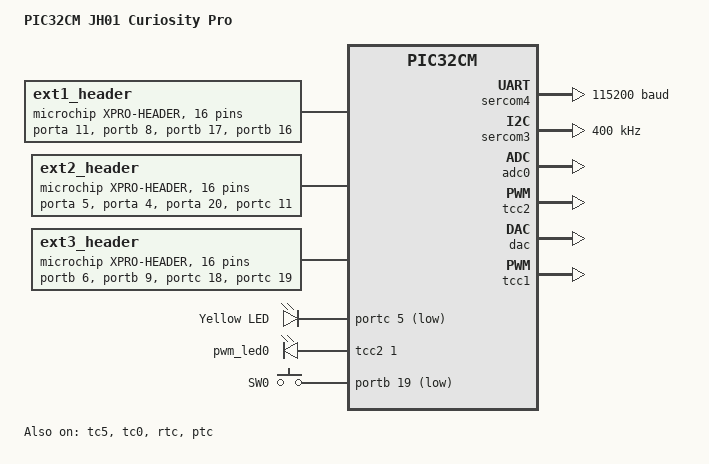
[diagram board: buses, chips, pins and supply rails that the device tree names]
/*
 * Copyright (c) 2025-2026 Microchip Technology Inc.
 *
 * SPDX-License-Identifier: Apache-2.0
 */

/dts-v1/;
#include <microchip/pic32c/pic32cm_jh/pic32cm_jh01/pic32cm5164jh01100.dtsi>
#include "pic32cm_jh01_cpro-pinctrl.dtsi"
#include <zephyr/dt-bindings/i2c/i2c.h>
#include <zephyr/dt-bindings/input/input-event-codes.h>
#include <zephyr/dt-bindings/adc/adc.h>
#include <zephyr/dt-bindings/adc/mchp_pic32cm_jh_adc.h>
#include <zephyr/dt-bindings/input/mchp_pic32cm_jh_ptc.h>

/ {
	model = "PIC32CM JH01 Curiosity Pro";
	compatible = "pic32cmjh01,cpro", "microchip,pic32cm5164jh01100", "microchip,pic32cm";

	chosen {
		zephyr,sram = &sram0;
		zephyr,flash = &flash0;
		zephyr,flash-controller = &nvmctrl;
		zephyr,console = &sercom4;
		zephyr,shell-uart = &sercom4;
		zephyr,code-partition = &slot0_partition;
	};

	aliases {
		led0 = &led0;
		sw0 = &button0;
		pwm-led0 = &pwm_led0;
		rtc = &rtc;
	};

	ext1_header: xplained-pro-connector1 {
		compatible = "microchip,xpro-header";
		#gpio-cells = <2>;
		gpio-map-mask = <0xffffffff 0xffffffc0>;
		gpio-map-pass-thru = <0 0x3f>;

		/* dts-format off */
					       /*                                                Shared */
		gpio-map = <0  0 &porta 11 0>, /* EXT1-3  [ADC(+)]        PA11  ADC0/AIN[11]            */
			   <1  0 &portb  8 0>, /* EXT1-4  [ADC(-)]        PB08  ADC0/AIN[2]             */
			   <2  0 &portb 17 0>, /* EXT1-5  [GPIO0]         PB17  GPIO                    */
			   <3  0 &portb 16 0>, /* EXT1-6  [GPIO1]         PB16  GPIO                    */
			   <4  0 &portb 12 0>, /* EXT1-7  [PWM(+)]        PB12  TCC0/WO[6]              */
			   <5  0 &portb 13 0>, /* EXT1-8  [PWM(-)]        PB13  TCC0/WO[7]              */
			   <6  0 &porta 21 0>, /* EXT1-9  [IRQ/GPIO]      PA21  EIC/EXTINT[5] / GPIO    */
			   <7  0 &portb  7 0>, /* EXT1-10 [SPI_SS_B/GPIO] PB07  GPIO                    */
			   <8  0 &porta 22 0>, /* EXT1-11 [TWI_SDA]       PA22  SERCOM3/PAD[0] I2C SDA  */
			   <9  0 &porta 23 0>, /* EXT1-12 [TWI_SCL]       PA23  SERCOM3/PAD[1] I2C SCL  */
			   <10 0 &porta 13 0>, /* EXT1-13 [USART_RX]      PA13  SERCOM2/PAD[1] UART RX  */
			   <11 0 &porta 12 0>, /* EXT1-14 [USART_TX]      PA12  SERCOM2/PAD[0] UART TX  */
			   <12 0 &portc 28 0>, /* EXT1-15 [SPI_SS_A]      PC28  SERCOM1/PAD[1] SPI SS   */
			   <13 0 &porta 18 0>, /* EXT1-16 [SPI_MOSI]      PA18  SERCOM1/PAD[2] SPI MOSI */
			   <14 0 &portc 27 0>, /* EXT1-17 [SPI_MISO]      PC27  SERCOM1/PAD[0] SPI MISO */
			   <15 0 &porta 19 0>; /* EXT1-18 [SPI_SCK]       PA19  SERCOM1/PAD[3] SPI SCK  */
					       /* GND                                                   */
					       /* +3.3V                                                 */
		/* dts-format on */
	};

	ext2_header: xplained-pro-connector2 {
		compatible = "microchip,xpro-header";
		#gpio-cells = <2>;
		gpio-map-mask = <0xffffffff 0xffffffc0>;
		gpio-map-pass-thru = <0 0x3f>;

		/* dts-format off */
					       /*                                                 Shared */
		gpio-map = <0  0 &porta  5 0>, /* EXT2-3  [ADC(+)]         PA05  ADC0/AIN[5]             */
			   <1  0 &porta  4 0>, /* EXT2-4  [ADC(-)]         PA04  ADC0/AIN[4]             */
			   <2  0 &porta 20 0>, /* EXT2-5  [GPIO0]          PA20  GPIO                    */
			   <3  0 &portc 11 0>, /* EXT2-6  [GPIO1]          PC11  GPIO                    */
			   <4  0 &portb 30 0>, /* EXT2-7  [PWM(+)]         PB30  TCC1/WO[2]              */
			   <5  0 &portb 31 0>, /* EXT2-8  [PWM(-)]         PB31  TCC1/WO[3]              */
			   <6  0 &portc 24 0>, /* EXT2-9  [IRQ/GPIO]       PC24  EIC/EXTINT[0] / GPIO    */
			   <7  0 &portc 25 0>, /* EXT2-10 [SPI_SS_B/GPIO]  PC25  GPIO                    */
			   <8  0 &porta 16 0>, /* EXT2-11 [TWI_SDA]        PA16  SERCOM1/PAD[0] I2C SDA  */
			   <9  0 &porta 17 0>, /* EXT2-12 [TWI_SCL]        PA17  SERCOM1/PAD[1] I2C SCL  */
			   <10 0 &portb 21 0>, /* EXT2-13 [USART_RX]       PB21  SERCOM3/PAD[1] UART RX  */
			   <11 0 &portb 20 0>, /* EXT2-14 [USART_TX]       PB20  SERCOM3/PAD[0] UART TX  */
			   <12 0 &portb  3 0>, /* EXT2-15 [SPI_SS_A]       PB03  SERCOM5/PAD[1] SPI SS   */
			   <13 0 &portb  0 0>, /* EXT2-16 [SPI_MOSI]       PB00  SERCOM5/PAD[2] SPI MOSI */
			   <14 0 &portb  2 0>, /* EXT2-17 [SPI_MISO]       PB02  SERCOM5/PAD[0] SPI MISO */
			   <15 0 &portb  1 0>; /* EXT2-18 [SPI_SCK]        PB01  SERCOM5/PAD[3] SPI SCK  */
					       /* GND                                                    */
					       /* +3.3V                                                  */
		/* dts-format on */
	};

	ext3_header: xplained-pro-connector3 {
		compatible = "microchip,xpro-header";
		#gpio-cells = <2>;
		gpio-map-mask = <0xffffffff 0xffffffc0>;
		gpio-map-pass-thru = <0 0x3f>;

		/* dts-format off */
					       /*                                                 Shared */
		gpio-map = <0  0 &portb  6 0>, /* EXT3-3  [ADC(+)]         PB06  ADC1/AIN[8]             */
			   <1  0 &portb  9 0>, /* EXT3-4  [ADC(-)]         PB09  ADC1/AIN[5]             */
			   <2  0 &portc 18 0>, /* EXT3-5  [GPIO0]          PC18  GPIO                    */
			   <3  0 &portc 19 0>, /* EXT3-6  [GPIO1]          PC19  GPIO                    */
			   <4  0 &portb 22 0>, /* EXT3-7  [PWM(+)]         PB22  TC3/WO[0]               */
			   <5  0 &portb 23 0>, /* EXT3-8  [PWM(-)]         PB23  TC3/WO[1]               */
			   <6  0 &porta 28 0>, /* EXT3-9  [IRQ/GPIO]       PA28  EIC/EXTINT[8] / GPIO    */
			   <7  0 &porta 27 0>, /* EXT3-10 [SPI_SS_B/GPIO]  PA27  GPIO                    */
			   <8  0 &porta 16 0>, /* EXT3-11 [TWI_SDA]        PA16  SERCOM1/PAD[0] I2C SDA  */
			   <9  0 &porta 17 0>, /* EXT3-12 [TWI_SCL]        PA17  SERCOM1/PAD[1] I2C SCL  */
			   <10 0 &portc 17 0>, /* EXT3-13 [USART_RX]       PC17  SERCOM6/PAD[1] UART RX  */
			   <11 0 &portc 16 0>, /* EXT3-14 [USART_TX]       PC16  SERCOM6/PAD[0] UART TX  */
			   <12 0 &portc 13 0>, /* EXT3-15 [SPI_SS_A]       PC13  SERCOM7/PAD[1] SPI SS   */
			   <13 0 &portc 14 0>, /* EXT3-16 [SPI_MOSI]       PC14  SERCOM7/PAD[2] SPI MOSI */
			   <14 0 &portc 12 0>, /* EXT3-17 [SPI_MISO]       PC12  SERCOM7/PAD[0] SPI MISO */
			   <15 0 &portc 15 0>; /* EXT3-18 [SPI_SCK]        PC15  SERCOM7/PAD[3] SPI SCK  */
					       /* GND                          */
					       /* +3.3V                        */
		/* dts-format on */
	};

	leds {
		compatible = "gpio-leds";

		led0: led_0 {
			gpios = <&portc 5 GPIO_ACTIVE_LOW>;
			label = "Yellow LED";
		};
	};

	pwmleds {
		compatible = "pwm-leds";

		pwm_led0: pwm_led_0 {
			pwms = <&tcc2 1 PWM_MSEC(20) 0>;
			status = "okay";
		};
	};

	buttons {
		compatible = "gpio-keys";

		button0: button_0 {
			gpios = <&portb 19 (GPIO_PULL_UP | GPIO_ACTIVE_LOW)>;
			label = "SW0";
			zephyr,code = <INPUT_KEY_0>;
		};
	};
};

&flash0 {
	partitions {
		#address-cells = <1>;
		#size-cells = <1>;
		ranges;

		/* Initial 64kB for boot partition*/
		boot_partition: partition@0 {
			compatible = "zephyr,mapped-partition";
			label = "mcuboot";
			reg = <0x00000000 DT_SIZE_K(64)>;
		};

		/* 224kB for slot0 partition */
		slot0_partition: partition@10000 {
			compatible = "zephyr,mapped-partition";
			label = "image-0";
			reg = <0x00010000 DT_SIZE_K(224)>;
		};

		/* 224kB for slot1 partition */
		slot1_partition: partition@48000 {
			compatible = "zephyr,mapped-partition";
			label = "image-1";
			reg = <0x00048000 DT_SIZE_K(224)>;
		};

		/* Entire 8kB of Data flash is for storage partition */
		storage_partition: partition@400000 {
			compatible = "zephyr,mapped-partition";
			label = "storage";
			reg = <0x00400000 DT_SIZE_K(8)>;
		};
	};
};

&cpu0 {
	clock-frequency = <48000000>;
};

&clock {
	compatible = "microchip,pic32cm-jh-clock";

	/* If cpu sourced from osc48m, use 3 for CPU frequency above 24Mhz */
	flash-wait-states = <2>;

	xosc: xosc {
		compatible = "microchip,pic32cm-jh-xosc";
		xosc-frequency = <32000000>;
		xosc-en = <1>;
		xosc-xtal-en = <1>;
		xosc-run-in-standby-en = <1>;
	};

	fdpll: fdpll {
		compatible = "microchip,pic32cm-jh-fdpll";
		fdpll-xosc-clock-divider = <15>;
		fdpll-divider-ratio-frac = <0>;
		fdpll-divider-ratio-int = <95>;
		fdpll-output-prescalar = "div2";
		fdpll-src = "xosc";
		fdpll-run-in-standby-en = <1>;
		fdpll-en = <1>;
	};

	xosc32k: xosc32k {
		compatible = "microchip,pic32cm-jh-xosc32k";
		xosc32k-32khz-en = <1>;
		xosc32k-xtal-en = <1>;
		xosc32k-startup-time = "122-us";
		xosc32k-run-in-standby-en = <1>;
		xosc32k-en = <1>;
	};

	osc32k: osc32k {
		compatible = "microchip,pic32cm-jh-osc32k";
		osc32k-32khz-en = <1>;
		osc32k-startup-time = "183-us";
		osc32k-run-in-standby-en = <1>;
		osc32k-en = <0>;
	};

	gclkgen: gclkgen {
		compatible = "microchip,pic32cm-jh-gclkgen";

		gclkgen0 {
			subsystem = <CLOCK_MCHP_GCLKGEN_ID_GEN0>;
			gclkgen-div-factor = <1>;
			gclkgen-run-in-standby-en = <1>;
			gclkgen-src = "fdpll";
			gclkgen-en = <1>;
		};

		gclkgen1 {
			subsystem = <CLOCK_MCHP_GCLKGEN_ID_GEN1>;
			gclkgen-div-factor = <1>;
			gclkgen-run-in-standby-en = <1>;
			gclkgen-src = "xosc";
			gclkgen-en = <1>;
		};
	};

	gclkperiph: gclkperiph {
		compatible = "microchip,pic32cm-jh-gclkperiph";
		#clock-cells = <1>;

		sercom4 {
			subsystem = <CLOCK_MCHP_GCLKPERIPH_ID_SERCOM4_CORE>;
			gclkperiph-src = "gclk0";
			gclkperiph-en = <1>;
		};

		adc0 {
			subsystem = <CLOCK_MCHP_GCLKPERIPH_ID_ADC0>;
			gclkperiph-src = "gclk1";
			gclkperiph-en = <0>;
		};

		adc1 {
			subsystem = <CLOCK_MCHP_GCLKPERIPH_ID_ADC1>;
			gclkperiph-src = "gclk1";
			gclkperiph-en = <0>;
		};

		dac {
			subsystem = <CLOCK_MCHP_GCLKPERIPH_ID_DAC>;
			gclkperiph-src = "gclk1";
			gclkperiph-en = <0>;
		};
	};
};

&sercom4 {
	compatible = "microchip,sercom-g1-uart";
	#address-cells = <1>;
	#size-cells = <0>;
	current-speed = <115200>;
	data-bits = <8>;
	parity = "none";
	stop-bits = "1";
	rxpo = <3>;
	txpo = <1>;
	pinctrl-0 = <&sercom4_uart_default>;
	pinctrl-names = "default";
	dmas = <&dmac 0x0 0xa>, <&dmac 0x1 0xb>;
	dma-names = "rx", "tx";
	status = "okay";
};

&dmac {
	status = "okay";
};

i2c0: &sercom3 {
	compatible = "microchip,sercom-g1-i2c";
	#address-cells = <1>;
	#size-cells = <0>;
	clock-frequency = <I2C_BITRATE_FAST>;
	pinctrl-0 = <&sercom3_i2c_default>;
	pinctrl-names = "default";
	dmas = <&dmac 0x2 0x8>, <&dmac 0x3 0x9>;
	dma-names = "rx", "tx";
	status = "okay";
};

&adc0 {
	/* ADC clock = xosc => GCLK1 / prescaler (32 MHz / 2 = 16 MHz) */
	prescaler = <2>;
	pinctrl-0 = <&adc0_default>;
	pinctrl-names = "default";
	status = "okay";
};

&dmac {
	status = "okay";
};

&tcc2 {
	compatible = "microchip,tcc-g1-pwm";
	#pwm-cells = <3>;
	pinctrl-0 = <&tcc2_pwm_default>;
	pinctrl-names = "default";
	max-bit-width = <24>;
	prescaler = <256>;
	status = "okay";
};

&tc5 {
	compatible = "microchip,tc-g1-pwm";
	#pwm-cells = <3>;
	pinctrl-0 = <&tc5_pwm_default>;
	pinctrl-names = "default";
	prescaler = <64>;
	status = "okay";
};

&tc0 {
	compatible = "microchip,tc-g1-counter";
	max-bit-width = <32>;
	prescaler = <8>;
	status = "okay";
};

&dac {
	pinctrl-0 = <&dac_default>;
	pinctrl-names = "default";
	status = "okay";
};

&tcc1 {
	compatible = "microchip,tcc-g1-counter";
	max-bit-width = <24>;
	prescaler = <4>;
	status = "okay";
};

&rtc {
	prescaler = <1024>;
	status = "okay";
};

&sercom5 {
	compatible = "microchip,sercom-g1-spi";
	dipo = <0>;
	dopo = <1>;
	#address-cells = <1>;
	#size-cells = <0>;
	pinctrl-0 = <&sercom5_spi_default>;
	pinctrl-names = "default";
	cs-gpios = <&portb 3 GPIO_ACTIVE_LOW>;
	dmas = <&dmac 0x4 0xc>, <&dmac 0x5 0xd>;
	dma-names = "rx", "tx";
};

&ptc {
	interrupts = <30 3>;
	run-in-standby-en = <0>;
	def-touch-measurement-period-ms = <20>;
	def-sensor-type = <0x81>;
	def-sel-freq-init = "FREQ_SEL_0";
	def-touch-det-int = <4>;
	def-anti-tch-det-int = <5>;
	def-anti-tch-recal-thrshld = "RECAL_100";
	def-tch-drift-rate = <20>;
	def-anti-tch-drift-rate = <5>;
	def-drift-hold-time = <20>;
	def-reburst-mode = "REBURST_UNRESOLVED";
	def-max-on-duration = <0>;

	pinctrl-0 = <&ptc_btn1_default>;
	pinctrl-names = "default";

	/* frequency hop parameters */
	num-freq-steps = <3>;
	def-median-filter-frequencies = "FREQ_SEL_0", "FREQ_SEL_1", "FREQ_SEL_2";
	def-freq-autotune-enable = <1>;
	freq-autotune-max-variance = <10>;
	freq-autotune-count-in = <6>;

	/* Data Streamer port */
	data-streamer-port = <&sercom4>;

	def-num-channels = <1>;

	/* node parameters */
	node_0_params: touch_node0 {
		x-mask = <3>;
		x-names = "DRIVEN_SHIELD";
		y-mask = <10>;
		y-names = "BUTTON_0";
		zephyr,code = <INPUT_KEY_0>;
		csd = <0>;
		rselect = "RSEL_VAL_0";
		prescaler = "PRSC_DIV_SEL_16";
		digital-gain = "GAIN_1";
		analog-gain = "GAIN_1";
		filter-level = "FILTER_LEVEL_16";
	};

	/* button module parameters */
	def-num-sensors = <1>;

	key_0_params: touch_key0 {
		threshold = <25>;
		hysteresis = "HYST_25";
		aks-group = "NO_AKS_GROUP";
	};

	status = "okay";
};
